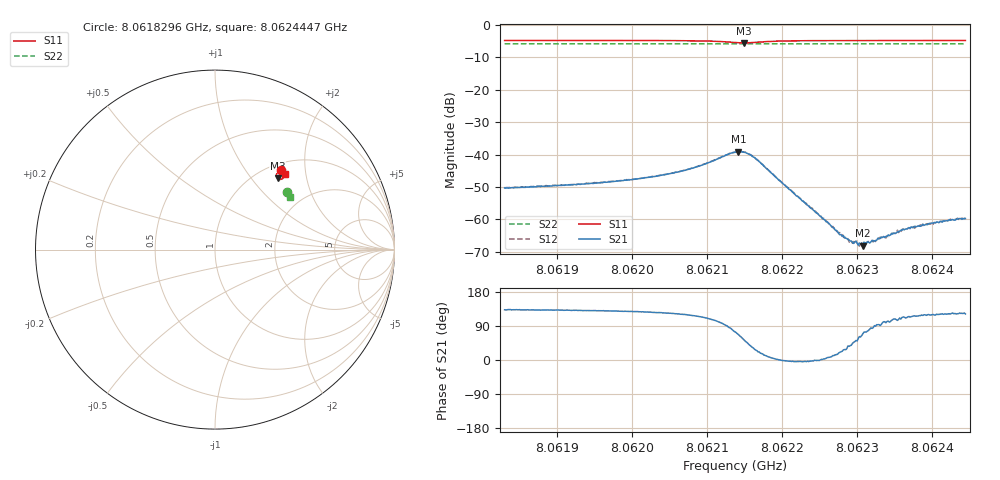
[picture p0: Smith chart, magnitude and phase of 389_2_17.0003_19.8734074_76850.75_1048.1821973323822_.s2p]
#  HZ  S  RI  R  50.00
! Rohde & Schwarz Vector Network Analyzer
! Rohde-Schwarz,ZNB20-2Port,1311601062101988,3.16
! Created: UTC 3/20/2024, 11:09:28 PM
! freq[Hz]  re:S11  im:S11  re:S21  im:S21  re:S12  im:S12  re:S22  im:S22
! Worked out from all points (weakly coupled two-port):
!   401 points, 8.0618296 GHz to 8.0624447 GHz, reference 50 ohm
!   highest |S21| = -39.07 dB at 8.0621418 GHz (marker M1); lowest = -68.0 dB at 8.0623078 GHz (marker M2)
!   lowest |S11| = -5.5 dB at 8.0621494 GHz (marker M3), VSWR 3.24, Z = 61.9 + j68.2 ohm
!   |S11| at or under -10 dB: nowhere
!   |S22| runs from -5.9 to -5.8 dB; largest |S21 - S12| = 0.00079
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8.06182958e9  0.366 0.4447  -0.00206 0.00225  -0.00198 0.0024  0.3988 0.322
8.06193261e9  0.3732 0.4384  -0.0023 0.00267  -0.00218 0.00282  0.4026 0.3169
8.06198336e9  0.3772 0.4345  -0.00248 0.00308  -0.00229 0.00324  0.4045 0.3142
8.06203565e9  0.3817 0.4286  -0.00274 0.00386  -0.00251 0.00407  0.4065 0.3114
8.06208332e9  0.3857 0.4184  -0.00284 0.00567  -0.00251 0.00585  0.4082 0.3088
8.06213714e9  0.3659 0.3912  0.00291 0.0104  0.00349 0.0104  0.4088 0.3052
8.06214175e9  0.3592 0.3917  0.00433 0.0103  0.00498 0.0101  0.4086 0.3051
8.06214944e9  0.3487 0.397  0.00661 0.00864  0.00714 0.00838  0.4085 0.305
8.06215713e9  0.3426 0.407  0.00785 0.00623  0.00827 0.00576  0.4086 0.3053
8.06216636e9  0.3423 0.4193  0.00755 0.00345  0.00793 0.003  0.409 0.3054
8.06224017e9  0.3719 0.4347  0.00145 -5.62e-05  0.00148 -0.000186  0.4132 0.3021
8.06227708e9  0.3782 0.4322  0.000544 0.000201  0.00061 0.000154  0.4146 0.3001
8.06228938e9  0.3796 0.4313  0.000392 0.000284  0.000373 0.000257  0.4151 0.2995
8.06230476e9  0.3814 0.4304  0.000201 0.000362  0.000242 0.000358  0.4156 0.2987
8.06230784e9  0.3817 0.4302  0.000139 0.000371  0.000152 0.000372  0.4157 0.2986
8.06232475e9  0.3834 0.4289  6.8e-06 0.000475  4.24e-05 0.000456  0.4164 0.2978
8.06232937e9  0.3838 0.4287  -3.16e-05 0.000503  1.92e-05 0.000516  0.4165 0.2973
8.06234321e9  0.385 0.4279  -9.66e-05 0.000556  -0.000108 0.000549  0.417 0.2966
8.06236166e9  0.3866 0.4268  -0.000282 0.000647  -0.000211 0.000683  0.4177 0.2957
8.06238165e9  0.388 0.4255  -0.00035 0.000715  -0.000337 0.000722  0.4183 0.2945
8.06242471e9  0.3913 0.4231  -0.000507 0.000829  -0.000482 0.000888  0.4198 0.2924
8.0624447e9  0.3925 0.422  -0.000538 0.000881  -0.000514 0.000929  0.4206 0.2914
